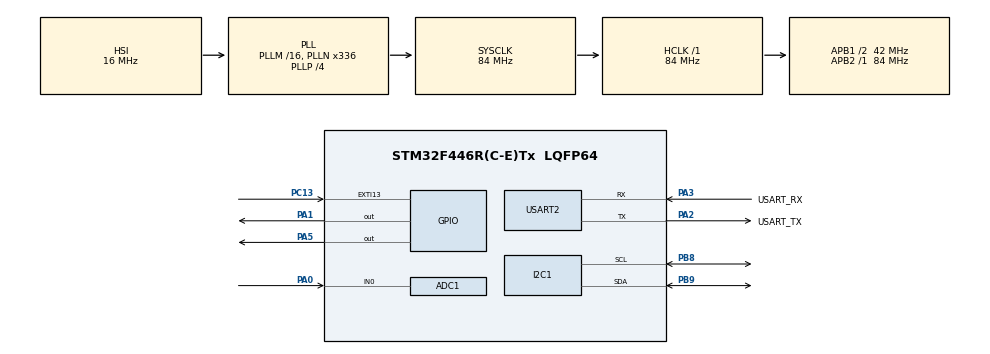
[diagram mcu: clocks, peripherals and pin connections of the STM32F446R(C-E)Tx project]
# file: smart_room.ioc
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ADC1.Channel-0\#ChannelRegularConversion=ADC_CHANNEL_0
ADC1.NbrOfConversionFlag=1
ADC1.Rank-0\#ChannelRegularConversion=1
ADC1.SamplingTime-0\#ChannelRegularConversion=ADC_SAMPLETIME_3CYCLES
ADC1.master=1
I2C1.I2C_Mode=I2C_Fast
Mcu.Family=STM32F4
Mcu.Name=STM32F446R(C-E)Tx
Mcu.Package=LQFP64
NUCLEO-F446RE.BUTTON=1
NUCLEO-F446RE.LD1=true
NVIC.EXTI15_10_IRQn=true\:0\:0\:false\:false\:true\:false\:true\:true
NVIC.PriorityGroup=NVIC_PRIORITYGROUP_0
PA0-WKUP.Signal=ADCx_IN0
PA1.Signal=GPIO_Output
PA13.GPIO_Label=TMS
PA13.Signal=SYS_JTMS-SWDIO
PA14.GPIO_Label=TCK
PA14.Signal=SYS_JTCK-SWCLK
PA2.GPIO_Label=USART_TX
PA2.Mode=Asynchronous
PA2.Signal=USART2_TX
PA3.GPIO_Label=USART_RX
PA3.Mode=Asynchronous
PA3.Signal=USART2_RX
PA5.Signal=GPIO_Output
PB3.GPIO_Label=SWO
PB3.Signal=SYS_JTDO-SWO
PB8.Mode=I2C
PB8.Signal=I2C1_SCL
PB9.Mode=I2C
PB9.Signal=I2C1_SDA
PC13.Signal=GPXTI13
PC14-OSC32_IN.Signal=RCC_OSC32_IN
PC15-OSC32_OUT.Signal=RCC_OSC32_OUT
PH0-OSC_IN.Signal=RCC_OSC_IN
PH1-OSC_OUT.Signal=RCC_OSC_OUT
ProjectManager.HeapSize=0x200
ProjectManager.StackSize=0x400
ProjectManager.TargetToolchain=STM32CubeIDE
RCC.AHBFreq_Value=84000000
RCC.APB1CLKDivider=RCC_HCLK_DIV2
RCC.APB1Freq_Value=42000000
RCC.APB1TimFreq_Value=84000000
RCC.APB2Freq_Value=84000000
RCC.APB2TimFreq_Value=84000000
RCC.CortexFreq_Value=84000000
RCC.FLatency-AdvancedSettings=FLASH_LATENCY_2
RCC.HCLKFreq_Value=84000000
RCC.HSE_VALUE=8000000
RCC.HSI_VALUE=16000000
RCC.LSE_VALUE=32768
RCC.PLLN=336
RCC.PLLP=RCC_PLLP_DIV4
RCC.SYSCLKFreq_VALUE=84000000
RCC.SYSCLKSource=RCC_SYSCLKSOURCE_PLLCLK
RCC.USBFreq_Value=168000000
RCC.VCOOutputFreq_Value=336000000
SH.ADCx_IN0.0=ADC1_IN0,IN0
TIM2.Prescaler=83
USART2.VirtualMode=VM_ASYNC
VP_NUCLEO-F446RE_VS_BSP_COMMON.Mode=COMMON
VP_TIM2_VS_ClockSourceINT.Mode=Internal
board=NUCLEO-F446RE

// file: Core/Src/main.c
/* USER CODE BEGIN Header */
/**
  ******************************************************************************
  * @file           : main.c
  * @brief          : Main program body
  ******************************************************************************
  * @attention
  *
  * Copyright (c) 2026 STMicroelectronics.
  * All rights reserved.
  *
  * This software is licensed under terms that can be found in the LICENSE file
  * in the root directory of this software component.
  * If no LICENSE file comes with this software, it is provided AS-IS.
  *
  ******************************************************************************
  */
/* USER CODE END Header */
#include "main.h"

/* USER CODE BEGIN Includes */
#include <stdio.h>
#include "ssd1306.h"
#include <stdlib.h>
#include "dht22.h"
/* USER CODE END Includes */

ADC_HandleTypeDef hadc1;

I2C_HandleTypeDef hi2c1;

TIM_HandleTypeDef htim2;

UART_HandleTypeDef huart2;

void SystemClock_Config(void);
static void MX_GPIO_Init(void);
static void MX_ADC1_Init(void);
static void MX_TIM2_Init(void);
static void MX_USART2_UART_Init(void);
static void MX_I2C1_Init(void);

/* USER CODE BEGIN 0 */
int __io_putchar(int ch)
{
    HAL_UART_Transmit(&huart2, (uint8_t *)&ch, 1, HAL_MAX_DELAY);
    return ch;
}

static void i2c_scan(void)
{
    printf("Scanning I2C...\r\n");
    for (uint8_t addr = 1; addr < 128; addr++)
    {
        if (HAL_I2C_IsDeviceReady(&hi2c1, addr << 1, 1, 10) == HAL_OK)
        {
            printf("Found device at 0x%02X\r\n", addr);
        }
    }
    printf("Scan done\r\n");
}

static uint32_t light_read(void)
{
    HAL_ADC_Start(&hadc1);
    HAL_ADC_PollForConversion(&hadc1, 10);
    return HAL_ADC_GetValue(&hadc1);
}
/* USER CODE END 0 */

int main(void)
{

  /* MCU Configuration--------------------------------------------------------*/

  /* Reset of all peripherals, Initializes the Flash interface and the Systick. */
  HAL_Init();

  /* Configure the system clock */
  SystemClock_Config();

  /* Initialize all configured peripherals */
  MX_GPIO_Init();
  MX_ADC1_Init();
  MX_TIM2_Init();
  MX_USART2_UART_Init();
  MX_I2C1_Init();
  /* USER CODE BEGIN 2 */
  printf("\r\nBoot OK\r\n");
  i2c_scan();
  if (ssd1306_init() != HAL_OK)
  {
      printf("OLED init failed\r\n");
  }
  else
  {
      for (uint8_t x = 0; x < 128; x++)
      {
          ssd1306_set_pixel(x, 0, 1);
          ssd1306_set_pixel(x, 63, 1);
      }
      for (uint8_t y = 0; y < 64; y++)
      {
          ssd1306_set_pixel(0, y, 1);
          ssd1306_set_pixel(127, y, 1);
      }
      for (uint8_t i = 0; i < 64; i++)
          ssd1306_set_pixel(i * 2, i, 1);

      ssd1306_update();
      printf("OLED drawn\r\n");
  }
  dht22_init();
  /* USER CODE END 2 */

  /* Initialize leds */
  BSP_LED_Init(LED2);

  /* Initialize USER push-button, will be used to trigger an interrupt each time it's pressed.*/
  BSP_PB_Init(BUTTON_USER, BUTTON_MODE_EXTI);

  /* Infinite loop */
  while (1)
  {

	    /* USER CODE BEGIN 3 */
	    BSP_LED_Toggle(LED2);

	    static uint32_t last_dht = 0;
	    if (HAL_GetTick() - last_dht >= 2000)   /* DHT22: at most one read every 2 s */
	    {
	        last_dht = HAL_GetTick();
	        int16_t t; uint16_t h;
	        dht22_status_t s = dht22_read(&t, &h);
	        if (s == DHT22_OK) {
	        	printf("Temp: %s%d.%d C  Hum: %u.%u %%\r\n", (t < 0) ? "-" : "", abs(t) / 10, abs(t) % 10, h / 10, h % 10);

	        	for (int i = 0; i < 40; i++) {
	        	    printf("%u ", dht22_dbg_widths[i]);
	        	}
	        	printf("\r\n");

	        }

	        	else if (s == DHT22_ERR_CHECKSUM) {
	            printf("DHT22 checksum error\r\n");
	        }
	        else {
	            printf("DHT22 timeout\r\n");
	        }
	    }

	    printf("light raw = %lu\r\n", light_read());
	    HAL_Delay(500);
	  }
	  /* USER CODE END 3 */
	}

void SystemClock_Config(void)
{
  RCC_OscInitTypeDef RCC_OscInitStruct = {0};
  RCC_ClkInitTypeDef RCC_ClkInitStruct = {0};

  /** Configure the main internal regulator output voltage
  */
  __HAL_RCC_PWR_CLK_ENABLE();
  __HAL_PWR_VOLTAGESCALING_CONFIG(PWR_REGULATOR_VOLTAGE_SCALE3);

  /** Initializes the RCC Oscillators according to the specified parameters
  * in the RCC_OscInitTypeDef structure.
  */
  RCC_OscInitStruct.OscillatorType = RCC_OSCILLATORTYPE_HSI;
  RCC_OscInitStruct.HSIState = RCC_HSI_ON;
  RCC_OscInitStruct.HSICalibrationValue = RCC_HSICALIBRATION_DEFAULT;
  RCC_OscInitStruct.PLL.PLLState = RCC_PLL_ON;
  RCC_OscInitStruct.PLL.PLLSource = RCC_PLLSOURCE_HSI;
  RCC_OscInitStruct.PLL.PLLM = 16;
  RCC_OscInitStruct.PLL.PLLN = 336;
  RCC_OscInitStruct.PLL.PLLP = RCC_PLLP_DIV4;
  RCC_OscInitStruct.PLL.PLLQ = 2;
  RCC_OscInitStruct.PLL.PLLR = 2;
  if (HAL_RCC_OscConfig(&RCC_OscInitStruct) != HAL_OK)
  {
    Error_Handler();
  }

  /** Initializes the CPU, AHB and APB buses clocks
  */
  RCC_ClkInitStruct.ClockType = RCC_CLOCKTYPE_HCLK|RCC_CLOCKTYPE_SYSCLK
                              |RCC_CLOCKTYPE_PCLK1|RCC_CLOCKTYPE_PCLK2;
  RCC_ClkInitStruct.SYSCLKSource = RCC_SYSCLKSOURCE_PLLCLK;
  RCC_ClkInitStruct.AHBCLKDivider = RCC_SYSCLK_DIV1;
  RCC_ClkInitStruct.APB1CLKDivider = RCC_HCLK_DIV2;
  RCC_ClkInitStruct.APB2CLKDivider = RCC_HCLK_DIV1;

  if (HAL_RCC_ClockConfig(&RCC_ClkInitStruct, FLASH_LATENCY_2) != HAL_OK)
  {
    Error_Handler();
  }
}

static void MX_ADC1_Init(void)
{

  ADC_ChannelConfTypeDef sConfig = {0};

  /** Configure the global features of the ADC (Clock, Resolution, Data Alignment and number of conversion)
  */
  hadc1.Instance = ADC1;
  hadc1.Init.ClockPrescaler = ADC_CLOCK_SYNC_PCLK_DIV4;
  hadc1.Init.Resolution = ADC_RESOLUTION_12B;
  hadc1.Init.ScanConvMode = DISABLE;
  hadc1.Init.ContinuousConvMode = DISABLE;
  hadc1.Init.DiscontinuousConvMode = DISABLE;
  hadc1.Init.ExternalTrigConvEdge = ADC_EXTERNALTRIGCONVEDGE_NONE;
  hadc1.Init.ExternalTrigConv = ADC_SOFTWARE_START;
  hadc1.Init.DataAlign = ADC_DATAALIGN_RIGHT;
  hadc1.Init.NbrOfConversion = 1;
  hadc1.Init.DMAContinuousRequests = DISABLE;
  hadc1.Init.EOCSelection = ADC_EOC_SINGLE_CONV;
  if (HAL_ADC_Init(&hadc1) != HAL_OK)
  {
    Error_Handler();
  }

  /** Configure for the selected ADC regular channel its corresponding rank in the sequencer and its sample time.
  */
  sConfig.Channel = ADC_CHANNEL_0;
  sConfig.Rank = 1;
  sConfig.SamplingTime = ADC_SAMPLETIME_3CYCLES;
  if (HAL_ADC_ConfigChannel(&hadc1, &sConfig) != HAL_OK)
  {
    Error_Handler();
  }

}

static void MX_I2C1_Init(void)
{

  hi2c1.Instance = I2C1;
  hi2c1.Init.ClockSpeed = 400000;
  hi2c1.Init.DutyCycle = I2C_DUTYCYCLE_2;
  hi2c1.Init.OwnAddress1 = 0;
  hi2c1.Init.AddressingMode = I2C_ADDRESSINGMODE_7BIT;
  hi2c1.Init.DualAddressMode = I2C_DUALADDRESS_DISABLE;
  hi2c1.Init.OwnAddress2 = 0;
  hi2c1.Init.GeneralCallMode = I2C_GENERALCALL_DISABLE;
  hi2c1.Init.NoStretchMode = I2C_NOSTRETCH_DISABLE;
  if (HAL_I2C_Init(&hi2c1) != HAL_OK)
  {
    Error_Handler();
  }

}

static void MX_TIM2_Init(void)
{

  TIM_ClockConfigTypeDef sClockSourceConfig = {0};
  TIM_MasterConfigTypeDef sMasterConfig = {0};

  htim2.Instance = TIM2;
  htim2.Init.Prescaler = 83;
  htim2.Init.CounterMode = TIM_COUNTERMODE_UP;
  htim2.Init.Period = 4294967295;
  htim2.Init.ClockDivision = TIM_CLOCKDIVISION_DIV1;
  htim2.Init.AutoReloadPreload = TIM_AUTORELOAD_PRELOAD_DISABLE;
  if (HAL_TIM_Base_Init(&htim2) != HAL_OK)
  {
    Error_Handler();
  }
  sClockSourceConfig.ClockSource = TIM_CLOCKSOURCE_INTERNAL;
  if (HAL_TIM_ConfigClockSource(&htim2, &sClockSourceConfig) != HAL_OK)
  {
    Error_Handler();
  }
  sMasterConfig.MasterOutputTrigger = TIM_TRGO_RESET;
  sMasterConfig.MasterSlaveMode = TIM_MASTERSLAVEMODE_DISABLE;
  if (HAL_TIMEx_MasterConfigSynchronization(&htim2, &sMasterConfig) != HAL_OK)
  {
    Error_Handler();
  }

}

static void MX_USART2_UART_Init(void)
{

  huart2.Instance = USART2;
  huart2.Init.BaudRate = 115200;
  huart2.Init.WordLength = UART_WORDLENGTH_8B;
  huart2.Init.StopBits = UART_STOPBITS_1;
  huart2.Init.Parity = UART_PARITY_NONE;
  huart2.Init.Mode = UART_MODE_TX_RX;
  huart2.Init.HwFlowCtl = UART_HWCONTROL_NONE;
  huart2.Init.OverSampling = UART_OVERSAMPLING_16;
  if (HAL_UART_Init(&huart2) != HAL_OK)
  {
    Error_Handler();
  }

}

static void MX_GPIO_Init(void)
{
  GPIO_InitTypeDef GPIO_InitStruct = {0};

  /* GPIO Ports Clock Enable */
  __HAL_RCC_GPIOC_CLK_ENABLE();
  __HAL_RCC_GPIOH_CLK_ENABLE();
  __HAL_RCC_GPIOA_CLK_ENABLE();
  __HAL_RCC_GPIOB_CLK_ENABLE();

  /*Configure GPIO pin Output Level */
  HAL_GPIO_WritePin(GPIOA, GPIO_PIN_1, GPIO_PIN_RESET);

  /*Configure GPIO pin : PA1 */
  GPIO_InitStruct.Pin = GPIO_PIN_1;
  GPIO_InitStruct.Mode = GPIO_MODE_OUTPUT_PP;
  GPIO_InitStruct.Pull = GPIO_NOPULL;
  GPIO_InitStruct.Speed = GPIO_SPEED_FREQ_LOW;
  HAL_GPIO_Init(GPIOA, &GPIO_InitStruct);

}

void Error_Handler(void)
{
  __disable_irq();
  while (1)
  {
  }
}
